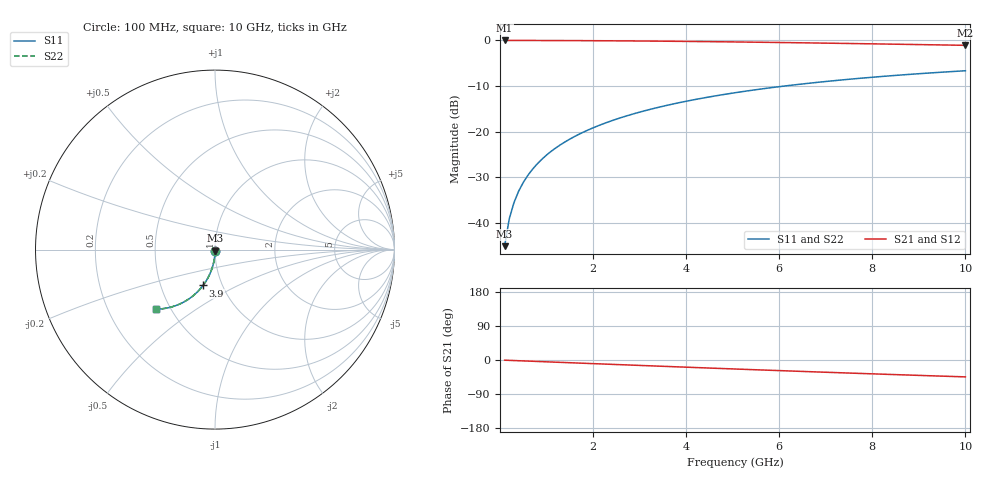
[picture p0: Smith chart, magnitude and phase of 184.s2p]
# Hz S RI R 50.00
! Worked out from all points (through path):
!   100 points, 100 MHz to 10 GHz, reference 50 ohm
!   highest |S21| = 0.00 dB at 100 MHz (marker M1); lowest = -1.1 dB at 10 GHz (marker M2)
!   group delay of S21, straight-line fit = 12.4 ps
!   lowest |S11| = -45.1 dB at 100 MHz (marker M3), VSWR 1.01, Z = 50 - j0.555 ohm
!   |S11| at or under -10 dB: start of sweep to 6.11 GHz
!   |S22| runs from -45.1 to -6.6 dB; largest |S21 - S12| = 0
!   S11 on the Smith chart (normalised r, x): 100 MHz: 1.00, -0.01; 3.9 GHz: 0.81, -0.34; 10 GHz: 0.42, -0.35
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1e8  0.000384 -0.00555  0.9995 -0.00836  0.9995 -0.00836  0.000384 -0.00555
2e8  0.000241 -0.0111  0.9993 -0.0167  0.9993 -0.0167  0.000241 -0.0111
3e8  4.38e-06 -0.0166  0.9991 -0.0251  0.9991 -0.0251  4.38e-06 -0.0166
4e8  -0.000325 -0.0222  0.9987 -0.0334  0.9987 -0.0334  -0.000325 -0.0222
5e8  -0.000747 -0.0277  0.9983 -0.0417  0.9983 -0.0417  -0.000747 -0.0277
6e8  -0.00126 -0.0332  0.9977 -0.0501  0.9977 -0.0501  -0.00126 -0.0332
7e8  -0.00187 -0.0387  0.997 -0.0584  0.997 -0.0584  -0.00187 -0.0387
8e8  -0.00257 -0.0442  0.9963 -0.0667  0.9963 -0.0667  -0.00257 -0.0442
9e8  -0.00336 -0.0497  0.9954 -0.075  0.9954 -0.075  -0.00336 -0.0497
1.1e9  -0.00521 -0.0607  0.9934 -0.0916  0.9934 -0.0916  -0.00521 -0.0607
1.4e9  -0.00867 -0.0769  0.9896 -0.1162  0.9896 -0.1162  -0.00867 -0.0769
1.8e9  -0.0145 -0.0982  0.9833 -0.1488  0.9833 -0.1488  -0.0145 -0.0982
2.1e9  -0.0198 -0.1139  0.9775 -0.1729  0.9775 -0.1729  -0.0198 -0.1139
2.5e9  -0.028 -0.1342  0.9685 -0.2046  0.9685 -0.2046  -0.028 -0.1342
2.9e9  -0.0376 -0.1539  0.9582 -0.2356  0.9582 -0.2356  -0.0376 -0.1539
3.4e9  -0.0511 -0.1774  0.9433 -0.2733  0.9433 -0.2733  -0.0511 -0.1774
3.9e9  -0.0665 -0.1996  0.9265 -0.3096  0.9265 -0.3096  -0.0665 -0.1996
5.1e9  -0.1093 -0.2464  0.8792 -0.3908  0.8792 -0.3908  -0.1093 -0.2464
5.9e9  -0.1417 -0.2721  0.8432 -0.4396  0.8432 -0.4396  -0.1417 -0.2721
6.7e9  -0.1762 -0.2932  0.8044 -0.4839  0.8044 -0.4839  -0.1762 -0.2932
8.4e9  -0.2534 -0.3224  0.7161 -0.563  0.7161 -0.563  -0.2534 -0.3224
1e10  -0.3263 -0.3316  0.6301 -0.62  0.6301 -0.62  -0.3263 -0.3316
